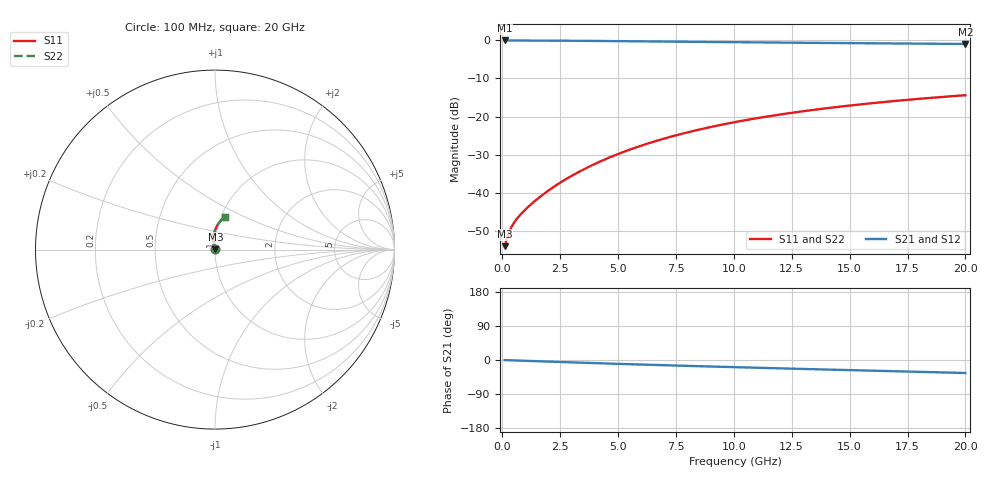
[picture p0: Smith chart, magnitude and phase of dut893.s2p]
! Touchstone file exported from HFSS 2024.1.0
!  File:  C:/UserFiles/LocalFiles/RDL_TSV_Batchsim/temp_RDL_top_893_1779857267.aedt
!  Generated:  12:49:46 PM May 27, 2026
!  Design:  RDL_top
!  Project:  temp_RDL_top_893_1779857267
!  Setup:  Setup1
!  Solution:  Sweep
! Variables:
!  dtsv = 10.80580581um
!  hbump = 3um
!  htsv = 94.61um
!  ldown = 100um
!  lrdl = 587.18um
!  p = 40
!  p1 = 41.48um
!  rhole = 1um
!  t = 450um
!  tdown = 3.915915916um
!  trdl = 4.69um
!  wdown = 15.38538539um
!  wrdl = 28.76um
# GHz S MA R 50.000000
! Terminal data exported
! Port[1] = Box2_T1
! Port[2] = Box2_T2
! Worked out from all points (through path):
!   200 points, 100 MHz to 20 GHz, reference 50 ohm
!   highest |S21| = -0.02 dB at 100 MHz (marker M1); lowest = -0.9 dB at 20 GHz (marker M2)
!   group delay of S21, straight-line fit = 4.68 ps
!   lowest |S11| = -54.1 dB at 100 MHz (marker M3), VSWR 1.00, Z = 50.2 + j0.0811 ohm
!   |S11| at or under -10 dB: start of sweep to end of sweep
!   |S22| runs from -54.1 to -14.4 dB; largest |S21 - S12| = 4.6e-15
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0.1  0.001982 24.1  0.9982 -0.2  0.9982 -0.2  0.001982 24.1
! Gamma 0 0 0 0
! Port Impedance 50 0 50 0
0.2  0.002501 37.7  0.9979 -0.5  0.9979 -0.5  0.002501 37.7
0.3  0.003051 44.7  0.9977 -0.7  0.9977 -0.7  0.003051 44.7
0.4  0.003551 49.0  0.9975 -0.9  0.9975 -0.9  0.003551 49.0
0.5  0.004 52.3  0.9973 -1.1  0.9973 -1.1  0.004 52.3
0.6  0.004416 55.3  0.9971 -1.3  0.9971 -1.3  0.004416 55.3
0.8  0.005211 60.9  0.9968 -1.7  0.9968 -1.7  0.005211 60.9
1  0.006013 65.9  0.9964 -2.2  0.9964 -2.2  0.006013 65.9
1.5  0.0082 76.1  0.9952 -3.2  0.9952 -3.2  0.0082 76.1
2.1  0.01124 84.6  0.9932 -4.5  0.9932 -4.5  0.01124 84.6
2.8  0.01537 91.2  0.9903 -5.9  0.9903 -5.9  0.01537 91.2
3.5  0.02012 95.5  0.9868 -7.3  0.9868 -7.3  0.02012 95.5
4.2  0.02544 98.0  0.9828 -8.7  0.9828 -8.7  0.02544 98.0
5  0.03218 99.6  0.978 -10.2  0.978 -10.2  0.03218 99.6
5.9  0.04047 100.1  0.9723 -11.8  0.9723 -11.8  0.04047 100.0
6.8  0.04938 99.6  0.9665 -13.5  0.9665 -13.5  0.04937 99.6
8.4  0.06626 97.6  0.9564 -16.2  0.9564 -16.2  0.06625 97.6
10.1  0.08503 94.4  0.9462 -19.0  0.9462 -19.0  0.08502 94.4
11.7  0.103 91.0  0.9372 -21.6  0.9372 -21.6  0.1029 91.0
13.4  0.1219 87.3  0.9283 -24.3  0.9283 -24.3  0.1219 87.3
16.7  0.1574 80.2  0.9123 -29.3  0.9123 -29.3  0.1574 80.1
20  0.1906 73.5  0.8976 -34.3  0.8976 -34.3  0.1905 73.4
